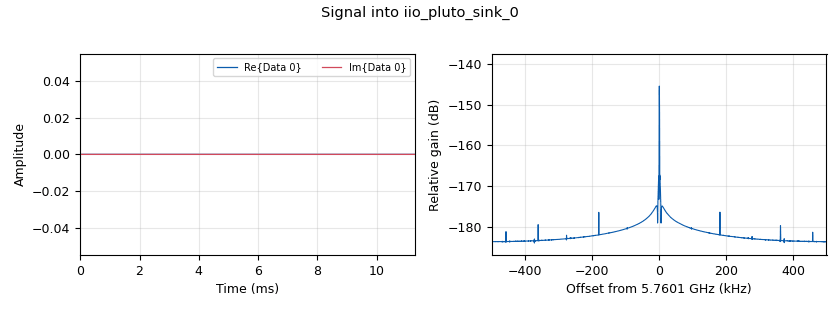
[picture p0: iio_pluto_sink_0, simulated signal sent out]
options:
  parameters:
    generate_options: qt_gui
    generator_class_name: PythonQtGuiGenerator
    generator_module: gnuradio.grc.workflows.python_qt_gui
    id: microvawe_morse_beacon
    output_language: python
    title: CW Beacon on 5.7 GHz (RA4HGN)
  states: {}

blocks:
- name: samp_rate
  id: variable
  parameters:
    value: '1000000'
  states: {}
- name: tone_freq
  id: variable_qtgui_range
  parameters:
    gui_hint: 0,0,1,1
    label: Tone (Hz)
    start: '300'
    step: '50'
    stop: '3000'
    value: '800'
  states: {}
- name: tx_atten
  id: variable_qtgui_range
  parameters:
    gui_hint: 2,0,1,1
    label: TX Attenuation (dB)
    start: '0'
    step: '0.5'
    stop: '60'
    value: '10'
  states: {}
- name: tx_freq
  id: variable_qtgui_range
  parameters:
    gui_hint: 3,0,1,1
    label: LO Frequency (MHz)
    start: '5760'
    step: '0.01'
    stop: '5762'
    value: '5760.1'
  states: {}
- name: wpm
  id: variable_qtgui_range
  parameters:
    gui_hint: 1,0,1,1
    label: Speed (WPM)
    rangeType: int
    start: '5'
    step: '1'
    stop: '60'
    value: '20'
  states: {}
- name: analog_sig_source_x_0
  id: analog_sig_source_x
  parameters:
    amp: '1'
    freq: tone_freq
    offset: '0'
    phase: '0'
    samp_rate: samp_rate
    type: complex
    waveform: analog.GR_COS_WAVE
  states: {}
- name: blocks_float_to_complex_0
  id: blocks_float_to_complex
  parameters: {}
  states: {}
- name: blocks_multiply_xx_0
  id: blocks_multiply_xx
  parameters:
    type: complex
  states: {}
- name: epy_block_0
  id: epy_block
  parameters:
    _source_code: |
      """
      Embedded Python Blocks:

      Each time this file is saved, GRC will instantiate the first class it finds
      to get ports and parameters of your block. The arguments to __init__  will
      be the parameters. All of them are required to have default values!
      """
      import numpy as np
      from gnuradio import gr

      class blk(gr.sync_block):
          def __init__(self, wpm=20):
              gr.sync_block.__init__(
                  self,
                  name='Morse Beacon',
                  in_sig=None,
                  out_sig=[np.float32]
              )
              self.message = "CQ CQ DE BEACON"
              self.samp_rate = 1e6   # Должно совпадать с samp_rate в flowgraph
              self.morse = {
                  'A':'.-','B':'-...','C':'-.-.','D':'-..','E':'.','F':'..-.',
                  'G':'--.','H':'....','I':'..','J':'.---','K':'-.-','L':'.-..',
                  'M':'--','N':'-.','O':'---','P':'.--.','Q':'--.-','R':'.-.',
                  'S':'...','T':'-','U':'..-','V':'...-','W':'.--','X':'-..-',
                  'Y':'-.--','Z':'--..',' ':' '
              }
              self._wpm = wpm
              self._regenerate()

          @property
          def wpm(self):
              return self._wpm

          @wpm.setter
          def wpm(self, value):
              self._wpm = value
              self._regenerate()

          def _regenerate(self):
              self.dot_samples = int(self.samp_rate * 1.2 / self._wpm)
              self.samples = self._generate()
              self.pos = 0

          def _generate(self):
              dot = self.dot_samples
              vals = []
              counts = []
              for ch in self.message.upper():
                  if ch == ' ':
                      vals.append(0.0)
                      counts.append(dot * 7)
                      continue
                  code = self.morse.get(ch, '')
                  for sym in code:
                      if sym == '.':
                          vals.append(1.0)
                          counts.append(dot)
                      elif sym == '-':
                          vals.append(1.0)
                          counts.append(dot * 3)
                      vals.append(0.0)
                      counts.append(dot)          # межсимвольный интервал
                  vals.append(0.0)
                  counts.append(dot * 2)          # межбуквенный интервал
              return np.repeat(np.asarray(vals, dtype=np.float32),
                               np.asarray(counts, dtype=np.int64))

          def work(self, input_items, output_items):
              out = output_items[0]
              n = len(out)
              end = self.pos + n
              if end <= len(self.samples):
                  out[:] = self.samples[self.pos:end]
              else:
                  wrap = len(self.samples) - self.pos
                  out[:wrap] = self.samples[self.pos:]
                  out[wrap:] = self.samples[:(n - wrap)]
              self.pos = end % len(self.samples)
              return n
    wpm: wpm
  states: {}
- name: iio_pluto_sink_0
  id: iio_pluto_sink
  parameters:
    attenuation1: tx_atten
    bandwidth: '2000000'
    buffer_size: '0x8000'
    cyclic: 'False'
    filter_source: '''Auto'''
    frequency: round(tx_freq * 1e6)
    samplerate: samp_rate
    type: fc32
  states: {}

connections:
- [analog_sig_source_x_0, '0', blocks_multiply_xx_0, '1']
- [blocks_float_to_complex_0, '0', blocks_multiply_xx_0, '0']
- [blocks_multiply_xx_0, '0', iio_pluto_sink_0, '0']
- [epy_block_0, '0', blocks_float_to_complex_0, '0']

metadata:
  file_format: 1
  grc_version: 3.10.12.0
